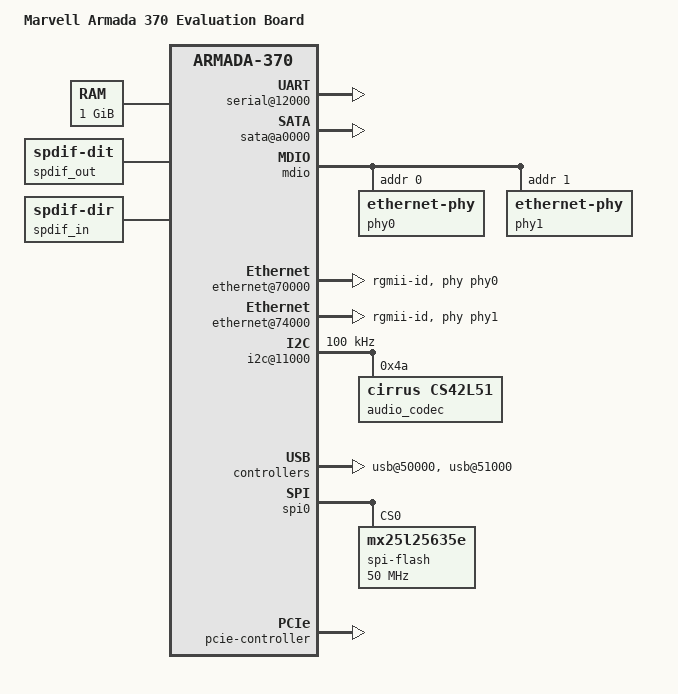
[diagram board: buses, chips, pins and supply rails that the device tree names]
/*
 * Device Tree file for Marvell Armada 370 evaluation board
 * (DB-88F6710-BP-DDR3)
 *
 *  Copyright (C) 2012 Marvell
 *
 * Lior Amsalem <alior@marvell.com>
 * Gregory CLEMENT <gregory.clement@free-electrons.com>
 * Thomas Petazzoni <thomas.petazzoni@free-electrons.com>
 *
 * This file is dual-licensed: you can use it either under the terms
 * of the GPL or the X11 license, at your option. Note that this dual
 * licensing only applies to this file, and not this project as a
 * whole.
 *
 *  a) This file is free software; you can redistribute it and/or
 *     modify it under the terms of the GNU General Public License as
 *     published by the Free Software Foundation; either version 2 of the
 *     License, or (at your option) any later version.
 *
 *     This file is distributed in the hope that it will be useful
 *     but WITHOUT ANY WARRANTY; without even the implied warranty of
 *     MERCHANTABILITY or FITNESS FOR A PARTICULAR PURPOSE.  See the
 *     GNU General Public License for more details.
 *
 * Or, alternatively
 *
 *  b) Permission is hereby granted, free of charge, to any person
 *     obtaining a copy of this software and associated documentation
 *     files (the "Software"), to deal in the Software without
 *     restriction, including without limitation the rights to use
 *     copy, modify, merge, publish, distribute, sublicense, and/or
 *     sell copies of the Software, and to permit persons to whom the
 *     Software is furnished to do so, subject to the following
 *     conditions:
 *
 *     The above copyright notice and this permission notice shall be
 *     included in all copies or substantial portions of the Software.
 *
 *     THE SOFTWARE IS PROVIDED , WITHOUT WARRANTY OF ANY KIND
 *     EXPRESS OR IMPLIED, INCLUDING BUT NOT LIMITED TO THE WARRANTIES
 *     OF MERCHANTABILITY, FITNESS FOR A PARTICULAR PURPOSE AND
 *     NONINFRINGEMENT. IN NO EVENT SHALL THE AUTHORS OR COPYRIGHT
 *     HOLDERS BE LIABLE FOR ANY CLAIM, DAMAGES OR OTHER LIABILITY
 *     WHETHER IN AN ACTION OF CONTRACT, TORT OR OTHERWISE, ARISING
 *     FROM, OUT OF OR IN CONNECTION WITH THE SOFTWARE OR THE USE OR
 *     OTHER DEALINGS IN THE SOFTWARE.
 *
 * Note: this Device Tree assumes that the bootloader has remapped the
 * internal registers to 0xf1000000 (instead of the default
 * 0xd0000000). The 0xf1000000 is the default used by the recent,
 * DT-capable, U-Boot bootloaders provided by Marvell. Some earlier
 * boards were delivered with an older version of the bootloader that
 * left internal registers mapped at 0xd0000000. If you are in this
 * situation, you should either update your bootloader (preferred
 * solution) or the below Device Tree should be adjusted.
 */

/dts-v1/;
#include "armada-370.dtsi"

/ {
	model = "Marvell Armada 370 Evaluation Board";
	compatible = "marvell,a370-db", "marvell,armada370", "marvell,armada-370-xp";

	chosen {
		stdout-path = "serial0:115200n8";
	};

	memory {
		device_type = "memory";
		reg = <0x00000000 0x40000000>; /* 1 GB */
	};

	soc {
		ranges = <MBUS_ID(0xf0, 0x01) 0 0xf1000000 0x100000
			  MBUS_ID(0x01, 0xe0) 0 0xfff00000 0x100000
			  MBUS_ID(0x09, 0x01) 0 0xf1100000 0x10000>;

		internal-regs {
			serial@12000 {
				status = "okay";
			};
			sata@a0000 {
				nr-ports = <2>;
				status = "okay";
			};

			mdio {
				pinctrl-0 = <&mdio_pins>;
				pinctrl-names = "default";
				phy0: ethernet-phy@0 {
					reg = <0>;
				};

				phy1: ethernet-phy@1 {
					reg = <1>;
				};
			};

			ethernet@70000 {
				pinctrl-0 = <&ge0_rgmii_pins>;
				pinctrl-names = "default";
				status = "okay";
				phy = <&phy0>;
				phy-mode = "rgmii-id";
			};
			ethernet@74000 {
				pinctrl-0 = <&ge1_rgmii_pins>;
				pinctrl-names = "default";
				status = "okay";
				phy = <&phy1>;
				phy-mode = "rgmii-id";
			};

			i2c@11000 {
				pinctrl-0 = <&i2c0_pins>;
				pinctrl-names = "default";
				clock-frequency = <100000>;
				status = "okay";
				audio_codec: audio-codec@4a {
					#sound-dai-cells = <0>;
					compatible = "cirrus,cs42l51";
					reg = <0x4a>;
				};
			};

			audio-controller@30000 {
				pinctrl-0 = <&i2s_pins2>;
				pinctrl-names = "default";
				status = "okay";
			};

			mvsdio@d4000 {
				pinctrl-0 = <&sdio_pins1>;
				pinctrl-names = "default";
				/*
				 * This device is disabled by default, because
				 * using the SD card connector requires
				 * changing the default CON40 connector
				 * "DB-88F6710_MPP_2xRGMII_DEVICE_Jumper" to a
				 * different connector
				 * "DB-88F6710_MPP_RGMII_SD_Jumper".
				 */
				status = "disabled";
				/* No CD or WP GPIOs */
				broken-cd;
			};

			usb@50000 {
				status = "okay";
			};

			usb@51000 {
				status = "okay";
			};

			spi0: spi@10600 {
				pinctrl-0 = <&spi0_pins2>;
				pinctrl-names = "default";
				status = "okay";

				spi-flash@0 {
					#address-cells = <1>;
					#size-cells = <1>;
					compatible = "mx25l25635e", "jedec,spi-nor";
					reg = <0>; /* Chip select 0 */
					spi-max-frequency = <50000000>;
				};
			};
		};

		pcie-controller {
			status = "okay";
			/*
			 * The two PCIe units are accessible through
			 * both standard PCIe slots and mini-PCIe
			 * slots on the board.
			 */
			pcie@1,0 {
				/* Port 0, Lane 0 */
				status = "okay";
			};

			pcie@2,0 {
				/* Port 1, Lane 0 */
				status = "okay";
			};
		};
	};

	sound {
		compatible = "simple-audio-card";
		simple-audio-card,name = "Armada 370 DB Audio";
		simple-audio-card,mclk-fs = <256>;
		simple-audio-card,widgets =
			"Headphone", "Out Jack",
			"Line", "In Jack";
		simple-audio-card,routing =
			"Out Jack", "HPL",
			"Out Jack", "HPR",
			"AIN1L", "In Jack",
			"AIN1L", "In Jack";
		status = "okay";

		simple-audio-card,dai-link@0 {
			format = "i2s";
			cpu {
				sound-dai = <&audio_controller 0>;
			};

			codec {
				sound-dai = <&audio_codec>;
			};
		};

		simple-audio-card,dai-link@1 {
			format = "i2s";
			cpu {
				sound-dai = <&audio_controller 1>;
			};

			codec {
				sound-dai = <&spdif_out>;
			};
		};

		simple-audio-card,dai-link@2 {
			format = "i2s";
			cpu {
				sound-dai = <&audio_controller 1>;
			};

			codec {
				sound-dai = <&spdif_in>;
			};
		};
	};

	spdif_out: spdif-out {
		#sound-dai-cells = <0>;
		compatible = "linux,spdif-dit";
	};

	spdif_in: spdif-in {
		#sound-dai-cells = <0>;
		compatible = "linux,spdif-dir";
	};
};
